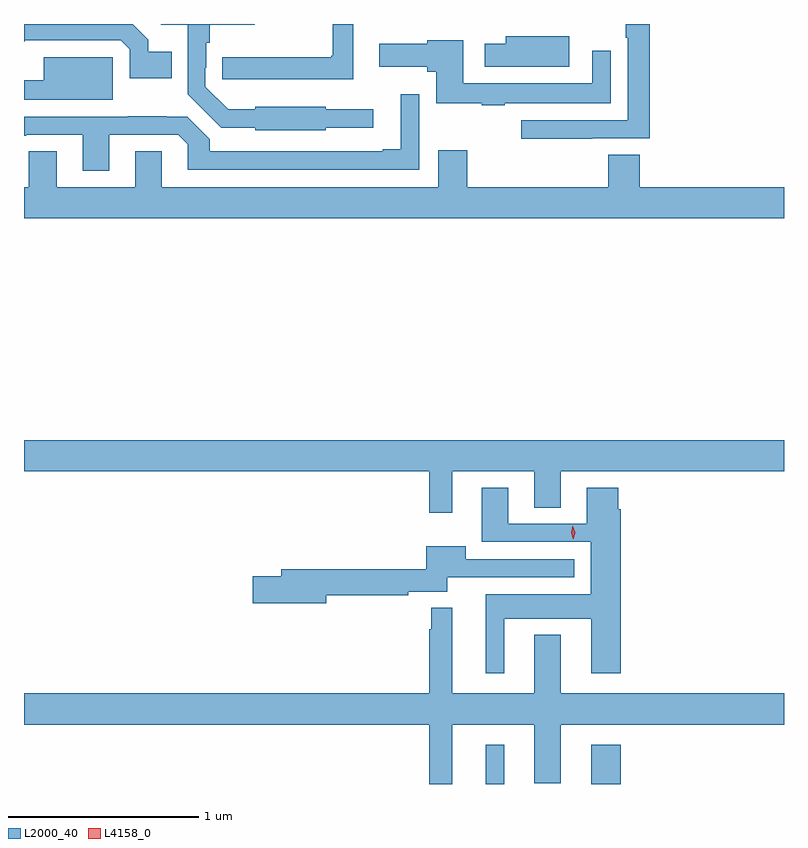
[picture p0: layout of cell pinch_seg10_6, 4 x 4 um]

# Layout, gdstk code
import gdstk
lib = gdstk.Library(unit=1e-6, precision=1e-09)
def R(c, l, rs):  # rectangles x0, y0, x1, y1
    for r in rs: c.add(gdstk.rectangle(r[:2], r[2:], *l))
def P(c, l, *ps):  # polygons
    for p in ps: c.add(gdstk.Polygon(p, *l))
L2000_40 = (2000, 40)
L4158_0 = (4158, 0)

pinch_seg10_6 = lib.new_cell('pinch_seg10_6')
R(pinch_seg10_6, L2000_40, [(1084.088,1254.715,1084.186,1254.922), (1084.643,1254.715,1084.799,1254.922)])
P(pinch_seg10_6, L2000_40, [(1083.246,1258.17),(1083.496,1258.17),(1083.496,1258.267),(1083.246,1258.267),(1083.246,1258.279),(1082.874,1258.279),(1082.874,1258.267),(1082.733,1258.267),(1082.613,1258.386),(1082.613,1258.486),(1082.616,1258.486),(1082.616,1258.616),(1082.636,1258.616),(1082.636,1258.712),(1082.872,1258.712),(1082.872,1258.715),(1082.377,1258.715),(1082.38,1258.712),(1082.52,1258.712),(1082.52,1258.344),(1082.695,1258.169),(1082.874,1258.169),(1082.874,1258.157),(1083.246,1258.157)],
  [(1082.435,1258.57),(1082.312,1258.57),(1082.312,1258.633),(1082.23,1258.715),(1081.658,1258.715),(1081.658,1258.622),(1081.665,1258.629),(1082.166,1258.629),(1082.214,1258.581),(1082.214,1258.43),(1082.435,1258.43)],
  [(1084.649,1258.113),(1084.952,1258.113),(1084.952,1258.715),(1084.824,1258.715),(1084.824,1258.643),(1084.836,1258.643),(1084.836,1258.209),(1084.275,1258.209),(1084.275,1258.111),(1084.649,1258.111)],
  [(1083.391,1258.715),(1083.282,1258.715),(1083.282,1258.548),(1083.274,1258.548),(1083.274,1258.54),(1082.701,1258.54),(1082.701,1258.424),(1083.391,1258.424)],
  [(1084.528,1258.651),(1084.193,1258.651),(1084.193,1258.612),(1084.083,1258.612),(1084.083,1258.49),(1084.528,1258.49)],
  [(1084.187,1258.298),(1084.746,1258.298),(1084.746,1258.573),(1084.65,1258.573),(1084.65,1258.402),(1083.97,1258.402),(1083.97,1258.63),(1083.78,1258.63),(1083.78,1258.612),(1083.528,1258.612),(1083.528,1258.49),(1083.78,1258.49),(1083.78,1258.465),(1083.827,1258.465),(1083.827,1258.298),(1084.066,1258.298),(1084.066,1258.288),(1084.187,1258.288)],
  [(1082.125,1258.54),(1081.763,1258.54),(1081.763,1258.42),(1081.658,1258.42),(1081.658,1258.316),(1082.125,1258.316)],
  [(1082.107,1258.131),(1082.469,1258.131),(1082.519,1258.081),(1082.519,1257.948),(1083.738,1257.948),(1083.738,1258.345),(1083.641,1258.345),(1083.641,1258.057),(1083.545,1258.057),(1083.545,1258.044),(1082.636,1258.044),(1082.636,1258.108),(1082.518,1258.226),(1082.408,1258.226),(1082.408,1258.229),(1082.203,1258.229),(1082.203,1258.227),(1081.658,1258.227),(1081.658,1258.126),(1081.669,1258.126),(1081.669,1258.131),(1081.967,1258.131),(1081.967,1257.942),(1082.107,1257.942)],
  [(1085.658,1257.856),(1084.898,1257.856),(1084.898,1258.028),(1084.733,1258.028),(1084.733,1257.856),(1083.992,1257.856),(1083.992,1258.051),(1083.839,1258.051),(1083.839,1257.856),(1082.383,1257.856),(1082.383,1258.046),(1082.243,1258.046),(1082.243,1257.856),(1081.831,1257.856),(1081.831,1258.046),(1081.684,1258.046),(1081.684,1257.856),(1081.658,1257.856),(1081.658,1257.692),(1085.658,1257.692)],
  [(1083.913,1256.36),(1084.343,1256.36),(1084.343,1256.17),(1084.483,1256.17),(1084.483,1256.36),(1085.658,1256.36),(1085.658,1256.524),(1081.658,1256.524),(1081.658,1256.36),(1083.792,1256.36),(1083.792,1256.142),(1083.913,1256.142)],
  [(1084.186,1255.586),(1084.643,1255.586),(1084.643,1255.299),(1084.799,1255.299),(1084.799,1256.162),(1084.786,1256.162),(1084.786,1256.275),(1084.619,1256.275),(1084.619,1256.085),(1084.207,1256.085),(1084.207,1256.275),(1084.067,1256.275),(1084.067,1255.989),(1084.64,1255.989),(1084.64,1255.714),(1084.088,1255.714),(1084.088,1255.299),(1084.186,1255.299)],
  [(1083.25,1255.708),(1083.68,1255.708),(1083.68,1255.728),(1083.886,1255.728),(1083.886,1255.803),(1084.555,1255.803),(1084.555,1255.899),(1083.982,1255.899),(1083.982,1255.966),(1083.776,1255.966),(1083.776,1255.844),(1083.011,1255.844),(1083.011,1255.808),(1082.862,1255.808),(1082.862,1255.666),(1083.25,1255.666)],
  [(1083.913,1255.028),(1084.343,1255.028),(1084.343,1254.719),(1084.483,1254.719),(1084.483,1255.028),(1085.658,1255.028),(1085.658,1255.192),(1084.483,1255.192),(1084.483,1255.501),(1084.343,1255.501),(1084.343,1255.192),(1083.913,1255.192),(1083.913,1255.642),(1083.802,1255.642),(1083.802,1255.529),(1083.792,1255.529),(1083.792,1255.192),(1081.658,1255.192),(1081.658,1255.028),(1083.792,1255.028),(1083.792,1254.715),(1083.913,1254.715)])
P(pinch_seg10_6, L4158_0, [(1084.549,1256.002),(1084.549,1256.003),(1084.538,1256.037),(1084.547,1256.073),(1084.547,1256.073),(1084.547,1256.073),(1084.558,1256.038),(1084.55,1256.003)])

lib.write_gds('pinch_seg10_6.gds')
